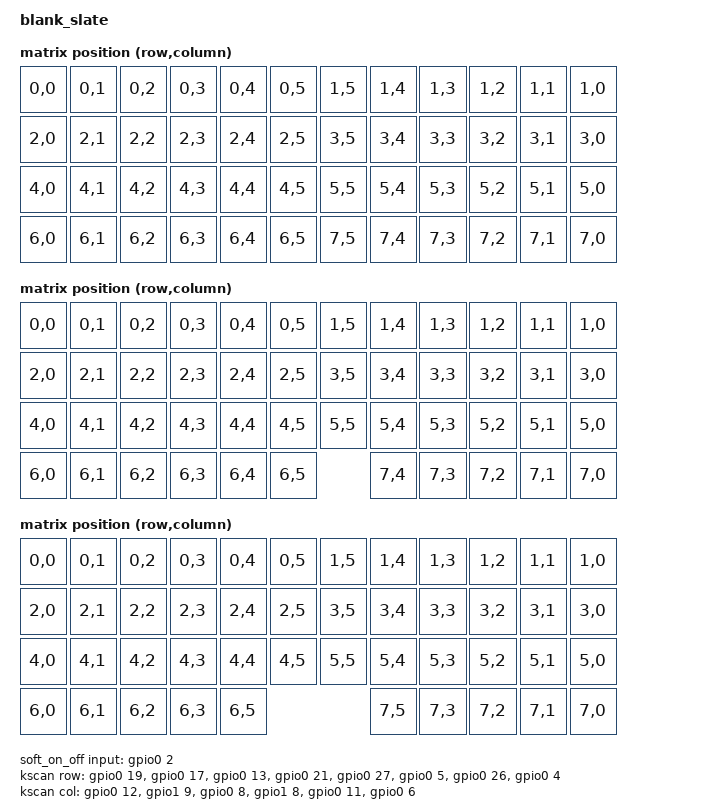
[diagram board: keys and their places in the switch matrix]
/*
 * Copyright (c) 2022 Pete Johanson
 *
 * SPDX-License-Identifier: MIT
 */

/dts-v1/;
#include <nordic/nrf52840_qiaa.dtsi>
#include <dt-bindings/zmk/matrix_transform.h>

/ {
	model = "blank_slate";
	compatible = "lpgalaxy,blank_slate";

	chosen {
		zephyr,code-partition = &code_partition;
		zephyr,sram = &sram0;
		zephyr,flash = &flash0;
		zmk,kscan = &kscan;
		zmk,matrix_transform = &ortho_transform;
		zmk,battery = &vbatt;
		zephyr,console = &cdc_acm_uart0;
	};

	aliases {
		led0 = &blue_led;
	};

	behaviors {
		hw_soft_off: behavior_hw_soft_off {
			compatible = "zmk,behavior-soft-off";
			#binding-cells = <0>;
			label = "HW_SO";
			hold-time-ms = <1000>;
		};
	};

	leds {
		compatible = "gpio-leds";
		blue_led: led_0 {
			gpios = <&gpio0 16 GPIO_ACTIVE_HIGH>;
			label = "Blue LED";
		};
	};

	keys {
		compatible = "gpio-keys";
		wakeup_key: wakeup_key {
			gpios = <&gpio0 2 (GPIO_ACTIVE_HIGH | GPIO_PULL_DOWN)>;
		};
	};

	vbatt: vbatt {
		compatible = "zmk,battery-nrf-vddh";
		label = "BATTERY";
	};

	wakeup_source: wakeup_source {
		compatible = "zmk,wakeup-trigger-key";

		trigger = <&wakeup_key>;
		wakeup-source;
		extra-gpios 
			= <&gpio0 12 GPIO_ACTIVE_HIGH>
			;
	};

	soft_off_behavior_key {
		compatible = "zmk,behavior-key-scanned";
		status = "okay";
		bindings = <&hw_soft_off>;
		key = <&wakeup_key>;
	};

	soft_off_wakers {
		compatible = "zmk,soft-off-wakeup-sources";
		wakeup-sources = <&wakeup_source>;
	};

	soft_on_off {
		compatible = "zmk,soft-on-off-gpio";

		input-gpios = <&gpio0 2 (GPIO_ACTIVE_HIGH | GPIO_PULL_DOWN)>;
		wakeup-sources = <&kscan>;
		output-gpios 
			= <&gpio0 12 GPIO_ACTIVE_HIGH>
			;
	};

	ortho_transform: ortho_transform {
		compatible = "zmk,matrix-transform";
		rows = <4>;
		columns = <12>;

		map = <
	RC(0,0) RC(0,1) RC(0,2) RC(0,3) RC(0,4) RC(0,5) RC(1,5) RC(1,4) RC(1,3) RC(1,2) RC(1,1) RC(1,0)
	RC(2,0) RC(2,1) RC(2,2) RC(2,3) RC(2,4) RC(2,5) RC(3,5) RC(3,4) RC(3,3) RC(3,2) RC(3,1) RC(3,0)
	RC(4,0) RC(4,1) RC(4,2) RC(4,3) RC(4,4) RC(4,5) RC(5,5) RC(5,4) RC(5,3) RC(5,2) RC(5,1) RC(5,0)
	RC(6,0) RC(6,1) RC(6,2) RC(6,3) RC(6,4) RC(6,5) RC(7,5) RC(7,4) RC(7,3) RC(7,2) RC(7,1) RC(7,0)
	>;
	};

	mit_transform: mit_transform {
		compatible = "zmk,matrix-transform";
		rows = <4>;
		columns = <12>;

		map = <
	RC(0,0) RC(0,1) RC(0,2) RC(0,3) RC(0,4) RC(0,5) RC(1,5) RC(1,4) RC(1,3) RC(1,2) RC(1,1) RC(1,0)
	RC(2,0) RC(2,1) RC(2,2) RC(2,3) RC(2,4) RC(2,5) RC(3,5) RC(3,4) RC(3,3) RC(3,2) RC(3,1) RC(3,0)
	RC(4,0) RC(4,1) RC(4,2) RC(4,3) RC(4,4) RC(4,5) RC(5,5) RC(5,4) RC(5,3) RC(5,2) RC(5,1) RC(5,0)
	RC(6,0) RC(6,1) RC(6,2) RC(6,3) RC(6,4)     RC(6,5)     RC(7,4) RC(7,3) RC(7,2) RC(7,1) RC(7,0)
	>;
	};

	dual_2u_transform: dual_2u_transform {
		compatible = "zmk,matrix-transform";
		rows = <4>;
		columns = <12>;

		map = <
	RC(0,0) RC(0,1) RC(0,2) RC(0,3) RC(0,4) RC(0,5) RC(1,5) RC(1,4) RC(1,3) RC(1,2) RC(1,1) RC(1,0)
	RC(2,0) RC(2,1) RC(2,2) RC(2,3) RC(2,4) RC(2,5) RC(3,5) RC(3,4) RC(3,3) RC(3,2) RC(3,1) RC(3,0)
	RC(4,0) RC(4,1) RC(4,2) RC(4,3) RC(4,4) RC(4,5) RC(5,5) RC(5,4) RC(5,3) RC(5,2) RC(5,1) RC(5,0)
	RC(6,0) RC(6,1) RC(6,2) RC(6,3)      RC(6,5)       RC(7,5)      RC(7,3) RC(7,2) RC(7,1) RC(7,0)
	>;
	};
	
	kscan: kscan {
		compatible = "zmk,kscan-gpio-matrix";
		wakeup-source;
		label = "KSCAN";
		debounce-press-ms = <1>;
		debounce-release-ms = <5>;

		diode-direction = "col2row";

		col-gpios
			= <&gpio0 12 (GPIO_ACTIVE_HIGH)>
			, <&gpio1 9  (GPIO_ACTIVE_HIGH)>
			, <&gpio0 8  (GPIO_ACTIVE_HIGH)>
			, <&gpio1 8  (GPIO_ACTIVE_HIGH)>
			, <&gpio0 11 (GPIO_ACTIVE_HIGH)>
			, <&gpio0 6  (GPIO_ACTIVE_HIGH)>
			;
		row-gpios
			= <&gpio0 19 (GPIO_ACTIVE_HIGH | GPIO_PULL_DOWN)>
			, <&gpio0 17 (GPIO_ACTIVE_HIGH | GPIO_PULL_DOWN)>
			, <&gpio0 13 (GPIO_ACTIVE_HIGH | GPIO_PULL_DOWN)>
			, <&gpio0 21 (GPIO_ACTIVE_HIGH | GPIO_PULL_DOWN)>
			, <&gpio0 27 (GPIO_ACTIVE_HIGH | GPIO_PULL_DOWN)>
			, <&gpio0 5  (GPIO_ACTIVE_HIGH | GPIO_PULL_DOWN)>
			, <&gpio0 26 (GPIO_ACTIVE_HIGH | GPIO_PULL_DOWN)>
			, <&gpio0 4  (GPIO_ACTIVE_HIGH | GPIO_PULL_DOWN)>
			;
	};
};

&adc {
	status = "okay";
};

&gpiote {
	status = "okay";
};

&gpio0 {
	status = "okay";
};

&gpio1 {
	status = "okay";
};


&usbd {
	status = "okay";
	cdc_acm_uart0: cdc_acm_uart0 {
		compatible = "zephyr,cdc-acm-uart";
		label = "CDC_ACM_0";
	};
}; 


&flash0 {
	/*
	 * For more information, see:
	 * http://docs.zephyrproject.org/latest/devices/dts/flash_partitions.html
	 */
	partitions {
		compatible = "fixed-partitions";
		#address-cells = <1>;
		#size-cells = <1>;

		sd_partition: partition@0 {
			label = "mbr";
			reg = <0x00000000 0x00001000>;
		};
		code_partition: partition@1000 {
			label = "code_partition";
			reg = <0x00001000 0x000d3000>;
		};

		storage_partition: partition@d4000 {
			label = "storage";
			reg = <0x000d4000 0x00020000>;
		};

		boot_partition: partition@f4000 {
			label = "adafruit_boot";
			reg = <0x000f4000 0x0000c000>;
		};
	};
};
